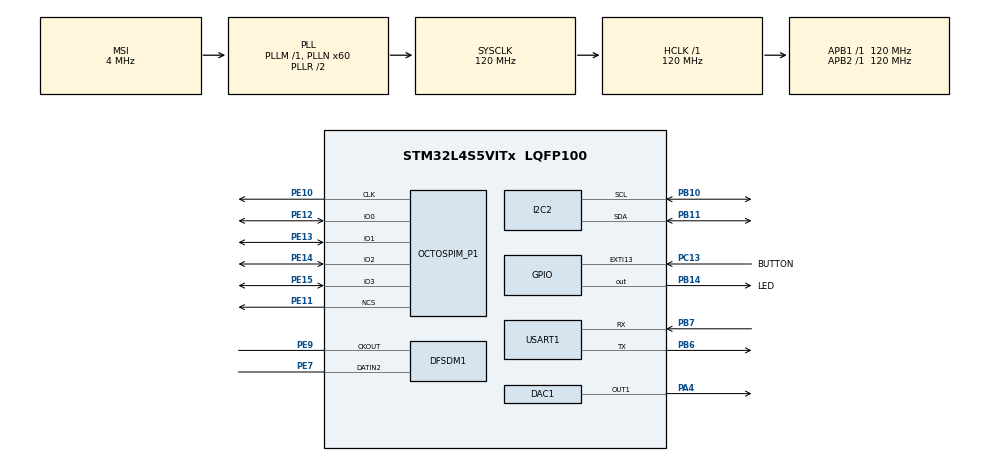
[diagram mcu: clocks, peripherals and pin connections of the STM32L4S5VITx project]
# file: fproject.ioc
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DAC1.DAC_Trigger-DAC_OUT1=DAC_TRIGGER_T2_TRGO
DFSDM1.Divider=117
DFSDM1.DmaMode_reg_FIL0=ENABLE
DFSDM1.FastMode_reg_FIL0=ENABLE
DFSDM1.Filter_regChannel_FIL0=DFSDM_CHANNEL_2
DFSDM1.Fosr_FIL0=64
DFSDM1.SincOrder_FIL0=DFSDM_FILTER_SINC3_ORDER
Dma.DAC1_CH1.0.Direction=DMA_MEMORY_TO_PERIPH
Dma.DAC1_CH1.0.EventEnable=DISABLE
Dma.DAC1_CH1.0.Instance=DMA1_Channel1
Dma.DAC1_CH1.0.MemDataAlignment=DMA_MDATAALIGN_HALFWORD
Dma.DAC1_CH1.0.MemInc=DMA_MINC_ENABLE
Dma.DAC1_CH1.0.Mode=DMA_CIRCULAR
Dma.DAC1_CH1.0.PeriphDataAlignment=DMA_PDATAALIGN_HALFWORD
Dma.DAC1_CH1.0.PeriphInc=DMA_PINC_DISABLE
Dma.DAC1_CH1.0.Polarity=HAL_DMAMUX_REQUEST_GEN_RISING
Dma.DAC1_CH1.0.Priority=DMA_PRIORITY_LOW
Dma.DAC1_CH1.0.RequestNumber=1
Dma.DAC1_CH1.0.SignalID=NONE
Dma.DAC1_CH1.0.SyncEnable=DISABLE
Dma.DAC1_CH1.0.SyncPolarity=HAL_DMAMUX_SYNC_NO_EVENT
Dma.DAC1_CH1.0.SyncRequestNumber=1
Dma.DAC1_CH1.0.SyncSignalID=NONE
Dma.DFSDM1_FLT0.1.Direction=DMA_PERIPH_TO_MEMORY
Dma.DFSDM1_FLT0.1.EventEnable=DISABLE
Dma.DFSDM1_FLT0.1.Instance=DMA1_Channel2
Dma.DFSDM1_FLT0.1.MemDataAlignment=DMA_MDATAALIGN_WORD
Dma.DFSDM1_FLT0.1.MemInc=DMA_MINC_ENABLE
Dma.DFSDM1_FLT0.1.Mode=DMA_CIRCULAR
Dma.DFSDM1_FLT0.1.PeriphDataAlignment=DMA_PDATAALIGN_WORD
Dma.DFSDM1_FLT0.1.PeriphInc=DMA_PINC_DISABLE
Dma.DFSDM1_FLT0.1.Polarity=HAL_DMAMUX_REQUEST_GEN_RISING
Dma.DFSDM1_FLT0.1.Priority=DMA_PRIORITY_LOW
Dma.DFSDM1_FLT0.1.RequestNumber=1
Dma.DFSDM1_FLT0.1.SignalID=NONE
Dma.DFSDM1_FLT0.1.SyncEnable=DISABLE
Dma.DFSDM1_FLT0.1.SyncPolarity=HAL_DMAMUX_SYNC_NO_EVENT
Dma.DFSDM1_FLT0.1.SyncRequestNumber=1
Dma.DFSDM1_FLT0.1.SyncSignalID=NONE
Dma.Request0=DAC1_CH1
Dma.Request1=DFSDM1_FLT0
FREERTOS.BinarySemaphores01=MicSem,Dynamic,NULL,Depleted
FREERTOS.Queues01=AudioQueue,4,uint16_t,0,Dynamic,NULL,NULL
FREERTOS.Tasks01=defaultTask,-3,128,StartDefaultTask,Default,NULL,Dynamic,NULL,NULL;GameTask,0,512,StartTask02,Default,NULL,Dynamic,NULL,NULL;MicTask,2,256,StartTask03,Default,NULL,Dynamic,NULL,NULL;FlashTask,-2,256,StartTask04,Default,NULL,Dynamic,NULL,NULL;AudioTask,1,512,StartTask05,Default,NULL,Dynamic,NULL,NULL
FREERTOS.configTOTAL_HEAP_SIZE=6000
I2C2.Timing=0x30A175AB
Mcu.Family=STM32L4
Mcu.Name=STM32L4S5VITx
Mcu.Package=LQFP100
NVIC.DMA1_Channel1_IRQn=true\:5\:0\:false\:false\:true\:true\:false\:true\:true
NVIC.DMA1_Channel2_IRQn=true\:5\:0\:false\:false\:true\:true\:false\:true\:true
NVIC.EXTI15_10_IRQn=true\:5\:0\:false\:false\:true\:true\:true\:true\:true
NVIC.PriorityGroup=NVIC_PRIORITYGROUP_4
NVIC.TIM2_IRQn=true\:5\:0\:false\:false\:true\:true\:true\:true\:true
NVIC.TIM6_DAC_IRQn=true\:15\:0\:false\:false\:true\:false\:false\:true\:true
NVIC.TimeBase=TIM6_DAC_IRQn
NVIC.TimeBaseIP=TIM6
PA4.Signal=COMP_DAC11_group
PB10.Mode=I2C
PB10.Signal=I2C2_SCL
PB11.Mode=I2C
PB11.Signal=I2C2_SDA
PB14.GPIO_Label=LED
PB14.Signal=GPIO_Output
PB6.Mode=Asynchronous
PB6.Signal=USART1_TX
PB7.Mode=Asynchronous
PB7.Signal=USART1_RX
PC13.GPIO_Label=BUTTON
PC13.Signal=GPXTI13
PE10.Mode=O1_P1_CLK
PE10.Signal=OCTOSPIM_P1_CLK
PE11.Mode=OCTOSPI1_Port1_NCS
PE11.Signal=OCTOSPIM_P1_NCS
PE12.Mode=OCTOSPI1_IOL_Port1L
PE12.Signal=OCTOSPIM_P1_IO0
PE13.Mode=OCTOSPI1_IOL_Port1L
PE13.Signal=OCTOSPIM_P1_IO1
PE14.Mode=OCTOSPI1_IOL_Port1L
PE14.Signal=OCTOSPIM_P1_IO2
PE15.Mode=OCTOSPI1_IOL_Port1L
PE15.Signal=OCTOSPIM_P1_IO3
PE7.Signal=S_DATAIN2DFSDM1
PE9.Signal=S_CKOUTDFSDM1
ProjectManager.HeapSize=0x200
ProjectManager.StackSize=0x400
ProjectManager.TargetToolchain=STM32CubeIDE
RCC.AHBFreq_Value=120000000
RCC.APB1Freq_Value=120000000
RCC.APB1TimFreq_Value=120000000
RCC.APB2Freq_Value=120000000
RCC.APB2TimFreq_Value=120000000
RCC.CortexFreq_Value=120000000
RCC.HCLKFreq_Value=120000000
RCC.HSE_VALUE=8000000
RCC.HSI48_VALUE=48000000
RCC.HSI_VALUE=16000000
RCC.LSE_VALUE=32768
RCC.MSI_VALUE=4000000
RCC.PLLN=60
RCC.SYSCLKFreq_VALUE=120000000
RCC.SYSCLKSource=RCC_SYSCLKSOURCE_PLLCLK
RCC.VCOOutputFreq_Value=240000000
SH.COMP_DAC11_group.0=DAC1_OUT1,DAC_OUT1
SH.S_CKOUTDFSDM1.0=DFSDM1_CKOUT,PDM_SPI_input_from_ch2_and_internal_clock
SH.S_CKOUTDFSDM1.1=DFSDM1_CKOUT,CKOUT
SH.S_DATAIN2DFSDM1.0=DFSDM1_DATIN2,PDM_SPI_input_from_ch2_and_internal_clock
TIM2.Period=7487
TIM2.Prescaler=0
TIM2.TIM_MasterOutputTrigger=TIM_TRGO_UPDATE
USART1.VirtualMode-Asynchronous=VM_ASYNC
VP_FREERTOS_VS_CMSIS_V1.Mode=CMSIS_V1
VP_OCTOSPI1_VS_quad.Mode=quad_mode
VP_SYS_VS_tim6.Mode=TIM6
VP_TIM2_VS_ClockSourceINT.Mode=Internal
board=custom

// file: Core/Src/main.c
/* USER CODE BEGIN Header */
/**
  ******************************************************************************
  * @file           : main.c
  * @brief          : Main program body
  ******************************************************************************
  * @attention
  *
  * Copyright (c) 2025 STMicroelectronics.
  * All rights reserved.
  *
  * This software is licensed under terms that can be found in the LICENSE file
  * in the root directory of this software component.
  * If no LICENSE file comes with this software, it is provided AS-IS.
  *
  ******************************************************************************
  */
/* USER CODE END Header */
#include "main.h"
#include "cmsis_os.h"
#include "dac.h"
#include "dfsdm.h"
#include "dma.h"
#include "i2c.h"
#include "octospi.h"
#include "tim.h"
#include "usart.h"
#include "gpio.h"

/* USER CODE BEGIN Includes */
#include <string.h>
#include <stdlib.h>
#include <stdio.h>
#include "math.h"
#include "arm_math.h"
#include "stm32l4s5i_iot01_accelero.h"
#include "stm32l4s5i_iot01_qspi.h"
/* USER CODE END Includes */

/* USER CODE BEGIN PTD */

typedef enum {
  GAME_AWAKE,
  GAME_IDLE,
  GAME_STARTING,
  GAME_ON,
  GAME_ENDING,
  GAME_DONE
} GameState;

typedef enum {
    CUE_SOUND1 = 0,
    CUE_SOUND2,
    CUE_SOUND3,
    CUE_LED
} CueType;

typedef struct {
    uint32_t magic;          // 0xDEADBEEF to validate data
    uint32_t bestScore;      // best score so far
    uint32_t gamesPlayed;    // number of games played
    uint32_t totalScore;     // sum of all scores
} GameStats;

typedef struct {
    uint32_t magic;      // 0xDEADBEEF
    uint32_t score;      // score for one run
} GameRecord;

/* USER CODE END PTD */

/* USER CODE BEGIN PD */

#define FS_HZ             16000.0f
#define DAC_MID           2048
#define DAC_AMP           2000
#define NOTE_DURATION_MS  250
#define NOTE_MAX_SAMPLES  1024
#define NUM_CUES          30
#define CUE_DELAY_MS      2000 // 2 seconds
#define FLASH_ADDR_BASE   0x000000
#define FLASH_STATS_ADDR    0x000000       // location of GameStats
#define FLASH_STATS_SECTOR  0x000000       // must be sector-aligned
#define MIC_THRESHOLD     50000   // adjusted after testing
#define NSAMPLES          512

/* USER CODE END PD */

/* USER CODE BEGIN PV */

// Global game state (shared with freertos.c via extern)
GameState g_state = GAME_AWAKE;
uint16_t  noteBuf[NOTE_MAX_SAMPLES];
uint32_t  noteLen = 0;
CueType   cueList[NUM_CUES];
uint8_t   cueResults[NUM_CUES];    // 1 = pass, 0 = miss
volatile uint8_t playerResponded = 0;
volatile uint8_t playerFail      = 0;
volatile CueType currentCue      = CUE_LED;
volatile int32_t threshold;
volatile int16_t accel_data[3];
GameStats stats;
uint32_t  lastScore;
volatile uint8_t micLoud = 0;
extern osMessageQId AudioQueueHandle;
extern osSemaphoreId MicSemHandle;

// Mic (DFSDM) raw buffer (32-bit words with top 24-bit signed sample)
int32_t  micBuffer[NSAMPLES];

/* USER CODE END PV */

void SystemClock_Config(void);
void MX_FREERTOS_Init(void);
/* USER CODE BEGIN PFP */

/* Helper prototypes so freertos.c can call them */
void stop_playback_if_running(void);
void start_note_circular(float freq_hz, uint16_t *buf, uint32_t *len);
void play_start_sequence(void);
void play_end_sequence(void);
static inline uint16_t q24_to_dac12(int32_t s);
void Flash_ReadStats(GameStats *s);
void Flash_WriteStats(GameStats *s);

/* USER CODE END PFP */

/* USER CODE BEGIN 0 */

void stop_playback_if_running(void) {
  HAL_DAC_Stop_DMA(&hdac1, DAC_CHANNEL_1);
  HAL_TIM_Base_Stop(&htim2);
}

// Build one full-period sine buffer and start circular DMA playback
void start_note_circular(float freq_hz, uint16_t *buf, uint32_t *len) {
  float samples_per_period_f = FS_HZ / freq_hz;
  uint32_t samples = (uint32_t)(samples_per_period_f + 0.5f);
  if (samples < 16) samples = 16;
  if (samples > NOTE_MAX_SAMPLES) samples = NOTE_MAX_SAMPLES;

  for (uint32_t i = 0; i < samples; i++) {
    float ph = 2.0f * M_PI * ((float)i / (float)samples);
    float s  = arm_sin_f32(ph);
    int32_t v = DAC_MID + (int32_t)(DAC_AMP * s);
    if (v < 0) v = 0;
    if (v > 4095) v = 4095;
    buf[i] = (uint16_t)v;
  }

  *len = samples;
  HAL_DAC_Stop_DMA(&hdac1, DAC_CHANNEL_1);
  HAL_DAC_Start_DMA(&hdac1, DAC_CHANNEL_1, (uint32_t*)buf, *len, DAC_ALIGN_12B_R);
  HAL_TIM_Base_Start(&htim2);
}

void play_start_sequence(void) {
  const float freqs[3] = {400.0f, 500.0f, 800.0f};
  for (int i = 0; i < 3; i++) {
    start_note_circular(freqs[i], noteBuf, &noteLen);
    HAL_Delay(NOTE_DURATION_MS);
    stop_playback_if_running();
    HAL_Delay(100);
  }
}

void play_end_sequence(void) {
  const float freqs[3] = {700.0f, 500.0f, 300.0f};
  for (int i = 0; i < 3; i++) {
    start_note_circular(freqs[i], noteBuf, &noteLen);
    HAL_Delay(NOTE_DURATION_MS);
    stop_playback_if_running();
    HAL_Delay(100);
  }
}

// Map signed 24-bit DFSDM sample (in bits[31:8]) to unsigned 12-bit DAC
static inline uint16_t q24_to_dac12(int32_t s)
{
  int32_t v = (s >> 11);       // discard 8 LSBs + reduce gain
  v += DAC_MID;                // center around mid-scale
  if (v < 0)    v = 0;
  if (v > 4095) v = 4095;
  return (uint16_t)v;
}

/* Read stats struct from flash */
void Flash_ReadStats(GameStats *s)
{
    GameStats temp;

    BSP_QSPI_Read((uint8_t*)&temp, FLASH_STATS_ADDR, sizeof(GameStats));
    while (BSP_QSPI_GetStatus() != QSPI_OK);

    if (temp.magic != 0xDEADBEEF)
    {
        // Flash is blank or corrupted → reset stats
        s->magic       = 0xDEADBEEF;
        s->bestScore   = 0;
        s->gamesPlayed = 0;
        s->totalScore  = 0;
        return;
    }

    // Valid struct → copy to output
    *s = temp;
}

/* Overwrite stats area with new struct */
void Flash_WriteStats(GameStats *s)
{
    // Sector must be erased before writing
    BSP_QSPI_Erase_Block(FLASH_STATS_SECTOR);
    while (BSP_QSPI_GetStatus() != QSPI_OK);

    BSP_QSPI_Write((uint8_t*)s, FLASH_STATS_ADDR, sizeof(GameStats));
    while (BSP_QSPI_GetStatus() != QSPI_OK);
}

/* USER CODE END 0 */

int main(void)
{

  /* MCU Configuration--------------------------------------------------------*/

  /* Reset of all peripherals, Initializes the Flash interface and the Systick. */
  HAL_Init();

  /* Configure the system clock */
  SystemClock_Config();

  /* Initialize all configured peripherals */
  MX_GPIO_Init();
  MX_DMA_Init();
  MX_DAC1_Init();
  MX_TIM2_Init();
  MX_I2C2_Init();
  MX_USART1_UART_Init();
  MX_DFSDM1_Init();
  MX_OCTOSPI1_Init();

  /* Call init function for freertos objects (in cmsis_os2.c) */
  MX_FREERTOS_Init();

  /* Start scheduler */
  osKernelStart();

  /* We should never get here as control is now taken by the scheduler */

  /* Infinite loop */
  while (1)
  {

  }
}

void SystemClock_Config(void)
{
  RCC_OscInitTypeDef RCC_OscInitStruct = {0};
  RCC_ClkInitTypeDef RCC_ClkInitStruct = {0};

  /** Configure the main internal regulator output voltage
  */
  if (HAL_PWREx_ControlVoltageScaling(PWR_REGULATOR_VOLTAGE_SCALE1_BOOST) != HAL_OK)
  {
    Error_Handler();
  }

  /** Initializes the RCC Oscillators according to the specified parameters
  * in the RCC_OscInitTypeDef structure.
  */
  RCC_OscInitStruct.OscillatorType = RCC_OSCILLATORTYPE_MSI;
  RCC_OscInitStruct.MSIState = RCC_MSI_ON;
  RCC_OscInitStruct.MSICalibrationValue = 0;
  RCC_OscInitStruct.MSIClockRange = RCC_MSIRANGE_6;
  RCC_OscInitStruct.PLL.PLLState = RCC_PLL_ON;
  RCC_OscInitStruct.PLL.PLLSource = RCC_PLLSOURCE_MSI;
  RCC_OscInitStruct.PLL.PLLM = 1;
  RCC_OscInitStruct.PLL.PLLN = 60;
  RCC_OscInitStruct.PLL.PLLP = RCC_PLLP_DIV2;
  RCC_OscInitStruct.PLL.PLLQ = RCC_PLLQ_DIV2;
  RCC_OscInitStruct.PLL.PLLR = RCC_PLLR_DIV2;
  if (HAL_RCC_OscConfig(&RCC_OscInitStruct) != HAL_OK)
  {
    Error_Handler();
  }

  /** Initializes the CPU, AHB and APB buses clocks
  */
  RCC_ClkInitStruct.ClockType = RCC_CLOCKTYPE_HCLK|RCC_CLOCKTYPE_SYSCLK
                              |RCC_CLOCKTYPE_PCLK1|RCC_CLOCKTYPE_PCLK2;
  RCC_ClkInitStruct.SYSCLKSource = RCC_SYSCLKSOURCE_PLLCLK;
  RCC_ClkInitStruct.AHBCLKDivider = RCC_SYSCLK_DIV1;
  RCC_ClkInitStruct.APB1CLKDivider = RCC_HCLK_DIV1;
  RCC_ClkInitStruct.APB2CLKDivider = RCC_HCLK_DIV1;

  if (HAL_RCC_ClockConfig(&RCC_ClkInitStruct, FLASH_LATENCY_5) != HAL_OK)
  {
    Error_Handler();
  }
}

/* USER CODE BEGIN 4 */

void HAL_DFSDM_FilterRegConvCpltCallback(DFSDM_Filter_HandleTypeDef *hfilter)
{
    BaseType_t xHigherPriorityTaskWoken = pdFALSE;

    // Wake mic task
    xSemaphoreGiveFromISR(MicSemHandle, &xHigherPriorityTaskWoken);

    portYIELD_FROM_ISR(xHigherPriorityTaskWoken);
}

// Called automatically on button interrupt (PC13 -> EXTI15_10)
void HAL_GPIO_EXTI_Callback(uint16_t GPIO_Pin)
{
    if (GPIO_Pin == BUTTON_Pin)  // confirm it was our button
    {
        static uint32_t last_press = 0;
        uint32_t now = HAL_GetTick();
        if (now - last_press < 250) return; // debounce
        last_press = now;

        if (g_state == GAME_IDLE) {
            g_state = GAME_STARTING;
        }
        else if ( g_state == GAME_ON) {
            if (currentCue == CUE_LED) {
                playerResponded  = 1;
            } else {
                playerFail = 1;
            }
        }
        else if (g_state == GAME_DONE) {
            g_state = GAME_STARTING; // restart game
        }
    }
}

/* USER CODE END 4 */

void HAL_TIM_PeriodElapsedCallback(TIM_HandleTypeDef *htim)
{
  if (htim->Instance == TIM6)
  {
    HAL_IncTick();
  }
}

void Error_Handler(void)
{
  __disable_irq();
  while (1)
  {
  }
}

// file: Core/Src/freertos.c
/* USER CODE BEGIN Header */
/**
  ******************************************************************************
  * File Name          : freertos.c
  * Description        : Code for freertos applications
  ******************************************************************************
  * @attention
  *
  * Copyright (c) 2025 STMicroelectronics.
  * All rights reserved.
  *
  * This software is licensed under terms that can be found in the LICENSE file
  * in the root directory of this software component.
  * If no LICENSE file comes with this software, it is provided AS-IS.
  *
  ******************************************************************************
  */
/* USER CODE END Header */

#include "FreeRTOS.h"
#include "task.h"
#include "main.h"
#include "cmsis_os.h"

/* USER CODE BEGIN Includes */
#include <stdlib.h>
#include <string.h>
#include <stdio.h>
#include "stm32l4s5i_iot01_accelero.h"
/* USER CODE END Includes */

/* USER CODE BEGIN PTD */

/* These come from main.c */
typedef enum {
  GAME_AWAKE,
  GAME_IDLE,
  GAME_STARTING,
  GAME_ON,
  GAME_ENDING,
  GAME_DONE
} GameState;

typedef enum {
    CUE_SOUND1 = 0,
    CUE_SOUND2,
    CUE_SOUND3,
    CUE_LED
} CueType;

typedef struct {
    uint32_t magic;
    uint32_t bestScore;
    uint32_t gamesPlayed;
    uint32_t totalScore;
} GameStats;

typedef struct {
    float freq;
    uint16_t duration_ms;
} AudioCmd;

/* USER CODE END PTD */

/* USER CODE BEGIN PD */

#define NUM_CUES      30
#define CUE_DELAY_MS  2000 // 2 seconds
#define MIC_THRESHOLD 50000
#define NSAMPLES      512
#define NOTE_DURATION_MS 250
/* USER CODE END PD */

/* USER CODE BEGIN Variables */

/* Externs from main.c */
extern GameState g_state;
extern uint16_t  noteBuf[];
extern uint32_t  noteLen;
extern CueType   cueList[];
extern uint8_t   cueResults[];
extern volatile uint8_t playerResponded;
extern volatile uint8_t playerFail;
extern volatile CueType currentCue;
extern volatile int32_t threshold;
extern volatile int16_t accel_data[3];
extern GameStats stats;
extern uint32_t  lastScore;
extern volatile uint8_t micLoud;
extern int32_t   micBuffer[];
/* Helper functions from main.c */
void stop_playback_if_running(void);
void start_note_circular(float freq_hz, uint16_t *buf, uint32_t *len);
void play_start_sequence(void);
void play_end_sequence(void);
void Flash_WriteStats(GameStats *s);

/* Handles from HAL drivers */
extern DFSDM_Filter_HandleTypeDef hdfsdm1_filter0;
extern UART_HandleTypeDef         huart1;

/* USER CODE END Variables */
osThreadId defaultTaskHandle;
osThreadId GameTaskHandle;
osThreadId MicTaskHandle;
osThreadId FlashTaskHandle;
osThreadId AudioTaskHandle;
osMessageQId AudioQueueHandle;
osSemaphoreId MicSemHandle;

void StartDefaultTask(void const * argument);
void StartTask02(void const * argument);
void StartTask03(void const * argument);
void StartTask04(void const * argument);
void StartTask05(void const * argument);

void MX_FREERTOS_Init(void); /* (MISRA C 2004 rule 8.1) */

/* GetIdleTaskMemory prototype (linked to static allocation support) */
void vApplicationGetIdleTaskMemory( StaticTask_t **ppxIdleTaskTCBBuffer, StackType_t **ppxIdleTaskStackBuffer, uint32_t *pulIdleTaskStackSize );

/* USER CODE BEGIN GET_IDLE_TASK_MEMORY */
static StaticTask_t xIdleTaskTCBBuffer;
static StackType_t  xIdleStack[configMINIMAL_STACK_SIZE];

void vApplicationGetIdleTaskMemory( StaticTask_t **ppxIdleTaskTCBBuffer,
                                    StackType_t **ppxIdleTaskStackBuffer,
                                    uint32_t *pulIdleTaskStackSize )
{
  *ppxIdleTaskTCBBuffer = &xIdleTaskTCBBuffer;
  *ppxIdleTaskStackBuffer = &xIdleStack[0];
  *pulIdleTaskStackSize = configMINIMAL_STACK_SIZE;
}
/* USER CODE END GET_IDLE_TASK_MEMORY */

void MX_FREERTOS_Init(void) {

  /* Create the semaphores(s) */
  /* definition and creation of MicSem */
  osSemaphoreDef(MicSem);
  MicSemHandle = osSemaphoreCreate(osSemaphore(MicSem), 0);

  /* Create the queue(s) */
  /* definition and creation of AudioQueue */
//  osMessageQDef(AudioQueue, 4, uint16_t);
//  AudioQueueHandle = osMessageCreate(osMessageQ(AudioQueue), NULL);

  /* USER CODE BEGIN RTOS_QUEUES */
  osMessageQDef(AudioQueue, 4, AudioCmd *);
  AudioQueueHandle = osMessageCreate(osMessageQ(AudioQueue), NULL);
  /* add queues, ... */
  /* USER CODE END RTOS_QUEUES */

  /* Create the thread(s) */
  /* definition and creation of defaultTask */
  osThreadDef(defaultTask, StartDefaultTask, osPriorityIdle, 0, 128);
  defaultTaskHandle = osThreadCreate(osThread(defaultTask), NULL);

  /* definition and creation of GameTask */
  osThreadDef(GameTask, StartTask02, osPriorityNormal, 0, 512);
  GameTaskHandle = osThreadCreate(osThread(GameTask), NULL);

  /* definition and creation of MicTask */
  osThreadDef(MicTask, StartTask03, osPriorityHigh, 0, 256);
  MicTaskHandle = osThreadCreate(osThread(MicTask), NULL);

  /* definition and creation of FlashTask */
  osThreadDef(FlashTask, StartTask04, osPriorityLow, 0, 256);
  FlashTaskHandle = osThreadCreate(osThread(FlashTask), NULL);

  /* definition and creation of AudioTask */
  osThreadDef(AudioTask, StartTask05, osPriorityAboveNormal, 0, 512);
  AudioTaskHandle = osThreadCreate(osThread(AudioTask), NULL);

  /* USER CODE BEGIN RTOS_THREADS */
  /* add any extra RTOS objects here if needed */
  /* USER CODE END RTOS_THREADS */

}

void StartDefaultTask(void const * argument)
{
  for(;;)
  {
    osDelay(1);
  }
}

void StartTask02(void const * argument)
{
  /* USER CODE BEGIN StartTask02 */

  for(;;)
  {
      switch (g_state) {

          case GAME_AWAKE:
          {
              // Display rules once
              char msg[512];
              snprintf(msg,sizeof(msg),
                      "\r\n--- Reflex Game ---\r\n"
                      "Rules:\r\n"
                      "- 30 cues (3 sounds + 1 LED)\r\n"
                      "- When LED lights -> press button\r\n"
                      "- High note: tilt right. Low note: tilt left\r\n"
                      "- Middle note: make a sound!\r\n"
                      "- Start game with button press\r\n"
                      "- When game starts, listen for 3 countdown tones\r\n"
                      "- Score printed at end. Play again with button press\r\n\r\n");
              HAL_UART_Transmit(&huart1, (uint8_t*)msg, strlen(msg), HAL_MAX_DELAY);

              g_state = GAME_IDLE;
              break;
          }

          case GAME_IDLE:
          {
        	  taskYIELD();

              // Prepare new random sequence when entering idle
              static uint8_t initialized = 0;
              if (!initialized) {
                  srand(HAL_GetTick());  // seed RNG once per boot
                  initialized = 1;
              }

              for (int i = 0; i < NUM_CUES; i++) {
                  cueList[i]   = rand() % 4;   // 0–3 inclusive
                  cueResults[i] = 0;
              }
              break;
          }

          case GAME_STARTING:
          {
              char m[64] = "Game start!\r\n";
              HAL_UART_Transmit(&huart1, (uint8_t*)m, strlen(m), HAL_MAX_DELAY);

              play_start_sequence();
              g_state = GAME_ON;
              break;
          }

          case GAME_ON:
          {
              char msg[64];
              uint32_t score = 0;

              for (int i = 0; i < NUM_CUES; i++) {
                  playerResponded = 0;
                  playerFail      = 0;

                  // Present cue
                  currentCue = cueList[i];
                  switch (currentCue) {
					  case CUE_SOUND1:
					  {
						  static AudioCmd cmd1;  // static so pointer stays valid
						  cmd1.freq = 600.0f;
						  cmd1.duration_ms = NOTE_DURATION_MS;

						  AudioCmd *ptr = &cmd1;
						  xQueueSend(AudioQueueHandle, &ptr, 0);
						  break;
					  }

					  case CUE_SOUND2:
					  {
						  static AudioCmd cmd2;  // static so pointer stays valid
						  cmd2.freq = 1000.0f;
						  cmd2.duration_ms = NOTE_DURATION_MS;

						  AudioCmd *ptr = &cmd2;
						  xQueueSend(AudioQueueHandle, &ptr, 0);
						  break;
					  }

					  case CUE_SOUND3:
					  {
						  micLoud = 0;
						  static AudioCmd cmd3;  // static so pointer stays valid
						  cmd3.freq = 800.0f;
						  cmd3.duration_ms = NOTE_DURATION_MS;

						  AudioCmd *ptr = &cmd3;
						  xQueueSend(AudioQueueHandle, &ptr, 0);
						  HAL_DFSDM_FilterRegularStart_DMA(&hdfsdm1_filter0, micBuffer, NSAMPLES);
						  osDelay(40);
						  break;
					  }
                      case CUE_LED:
                          HAL_GPIO_WritePin(LED_GPIO_Port, LED_Pin, GPIO_PIN_SET);
                          break;
                  }

                  // Wait for reaction window
                  uint32_t start = HAL_GetTick();
                  while ((HAL_GetTick() - start) < CUE_DELAY_MS) {
                	  osDelay(1);
                      if (playerResponded || playerFail) {
                          break;
                      }

                      if (currentCue == CUE_SOUND1 || currentCue == CUE_SOUND2) {
                          // poll accelerometer
                          BSP_ACCELERO_AccGetXYZ((int16_t*)accel_data);
                          taskYIELD();

                          if (currentCue == CUE_SOUND1) {
                              if (accel_data[0] > 500) {
                                  playerResponded = 1;
                              }
                              else if (accel_data[0] < -500) {
                                  playerFail = 1;
                              }
                          } else { // SOUND2
                              if (accel_data[0] < -500) {
                                  playerResponded = 1;
                              }
                              else if (accel_data[0] > 500) {
                                  playerFail = 1;
                              }
                          }
                      }

                      // microphone cue
                      if (currentCue == CUE_SOUND3) {
                          if (micLoud) {
                              playerResponded = 1;
                          }
                      }
                  }

                  // Evaluate result
                  if (playerResponded) {
                      cueResults[i] = 1;
                      score++;
                      sprintf(msg, "Cue %02d: PASS\r\n", i+1);
                  } else {
                      cueResults[i] = 0;
                      sprintf(msg, "Cue %02d: MISS\r\n", i+1);
                  }
                  HAL_UART_Transmit(&huart1, (uint8_t*)msg, strlen(msg), HAL_MAX_DELAY);

                  // Cleanup
                  HAL_DFSDM_FilterRegularStop_DMA(&hdfsdm1_filter0);
                  HAL_GPIO_WritePin(LED_GPIO_Port, LED_Pin, GPIO_PIN_RESET);
                  osDelay(300); // small gap before next cue
              }

              // Game summary
              sprintf(msg, "\r\nFinal score: %lu / %d\r\n", score, NUM_CUES);
              HAL_UART_Transmit(&huart1, (uint8_t*)msg, strlen(msg), HAL_MAX_DELAY);

              // Update stats
              stats.gamesPlayed++;
              stats.totalScore += score;
              if (score > stats.bestScore)
                  stats.bestScore = score;

              // Compute average AFTER update
              uint32_t avg100 = 0;
              if (stats.gamesPlayed > 0) {
                  avg100 = (stats.totalScore * 100) / stats.gamesPlayed;
              }

              // Save to flash
              lastScore = score;
              Flash_WriteStats(&stats);
              osDelay(10);

              // Print stats
              char msgStats[128];
              snprintf(msgStats, sizeof(msgStats),
                      "Best score: %lu\r\nGames played: %lu\r\nAverage score: %lu.%02lu\r\n",
                      stats.bestScore,
                      stats.gamesPlayed,
                      avg100 / 100, avg100 % 100);

              HAL_UART_Transmit(&huart1, (uint8_t*)msgStats, strlen(msgStats), HAL_MAX_DELAY);

              g_state = GAME_ENDING;
              break;
          }

          case GAME_ENDING:
          {
              play_end_sequence();
              char msg2[] = "Game ended!\r\n\r\nPress button to restart.\r\n";
              HAL_UART_Transmit(&huart1, (uint8_t*)msg2, strlen(msg2), HAL_MAX_DELAY);
              g_state = GAME_DONE;
              break;
          }

          case GAME_DONE:
          default:
        	  osDelay(1);
              break;
      }

      osDelay(1);   // small yield each loop
  }

  /* USER CODE END StartTask02 */
}

void StartTask03(void const * argument)
{
  /* USER CODE BEGIN StartTask03 */
    for(;;)
    {
        // Wait for new mic samples
        if (xSemaphoreTake(MicSemHandle, portMAX_DELAY) == pdTRUE)
        {
            uint8_t loud = 0;

            for (int i = 0; i < NSAMPLES; i++)
            {
                int32_t sample = micBuffer[i] >> 8;
                if (sample < 0) sample = -sample;

                if (sample > MIC_THRESHOLD)
                {
                    loud = 1;
                    break;
                }
            }

            // Update the shared flag
            micLoud = loud;
        }
    }
  /* USER CODE END StartTask03 */
}

void StartTask04(void const * argument)
{
  /* USER CODE BEGIN StartTask04 */
  /* Not used yet – flash writes are done from GameTask.
     Could be turned into a QSPI worker later. */
  for(;;)
  {
    osDelay(50);
  }
  /* USER CODE END StartTask04 */
}

void StartTask05(void const * argument)
{
  /* USER CODE BEGIN StartTask05 */
	AudioCmd *cmd;
	for (;;) {
		if (xQueueReceive(AudioQueueHandle, &cmd, portMAX_DELAY)) {
		    start_note_circular(cmd->freq, noteBuf, &noteLen);
		    osDelay(cmd->duration_ms);
		    stop_playback_if_running();
		}
	}
  /* USER CODE END StartTask05 */
}
